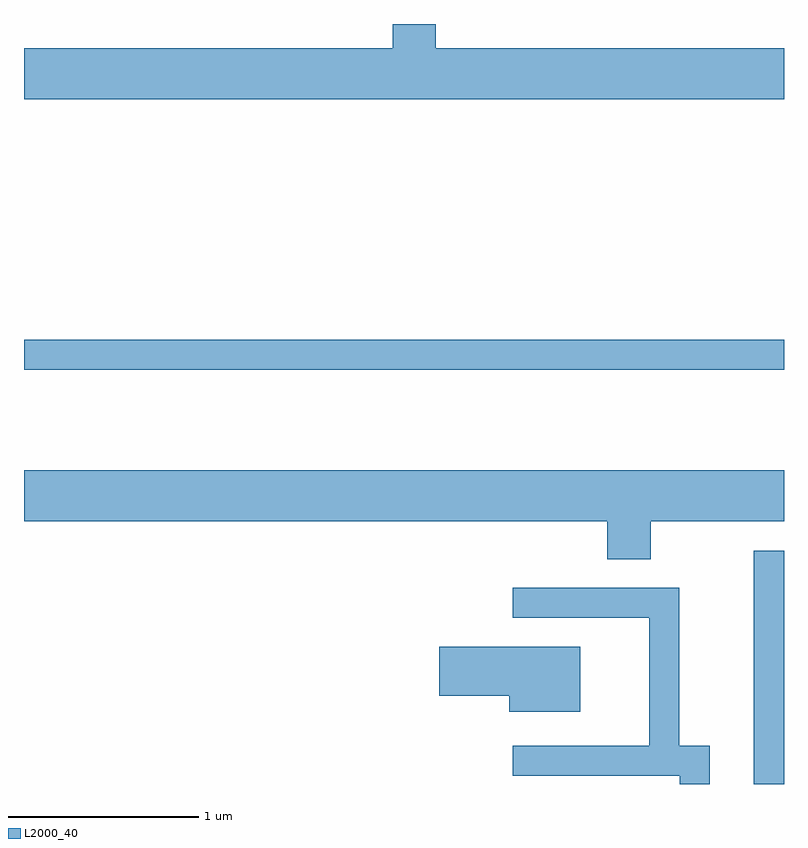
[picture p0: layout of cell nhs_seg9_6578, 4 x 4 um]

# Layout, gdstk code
import gdstk
lib = gdstk.Library(unit=1e-6, precision=1e-09)
def R(c, l, rs):  # rectangles x0, y0, x1, y1
    for r in rs: c.add(gdstk.rectangle(r[:2], r[2:], *l))
def P(c, l, *ps):  # polygons
    for p in ps: c.add(gdstk.Polygon(p, *l))
L2000_40 = (2000, 40)

nhs_seg9_6578 = lib.new_cell('nhs_seg9_6578')
R(nhs_seg9_6578, L2000_40, [(383.451,1990.432,383.611,1991.659), (379.611,1992.611,383.611,1992.769)])
P(nhs_seg9_6578, L2000_40, [(383.611,1994.304),(381.779,1994.304),(381.779,1994.432),(381.551,1994.432),(381.551,1994.304),(379.611,1994.304),(379.611,1994.036),(383.611,1994.036)],
  [(382.909,1991.816),(383.611,1991.816),(383.611,1992.084),(379.611,1992.084),(379.611,1991.816),(382.681,1991.816),(382.681,1991.616),(382.909,1991.616)],
  [(383.219,1990.634),(383.059,1990.634),(383.059,1991.464),(382.183,1991.464),(382.183,1991.306),(382.901,1991.306),(382.901,1990.634),(382.183,1990.634),(382.183,1990.476),(383.061,1990.476),(383.061,1990.432),(383.219,1990.432)],
  [(382.539,1991.154),(381.796,1991.154),(381.796,1990.896),(382.166,1990.896),(382.166,1990.811),(382.539,1990.811)])

lib.write_gds('nhs_seg9_6578.gds')
